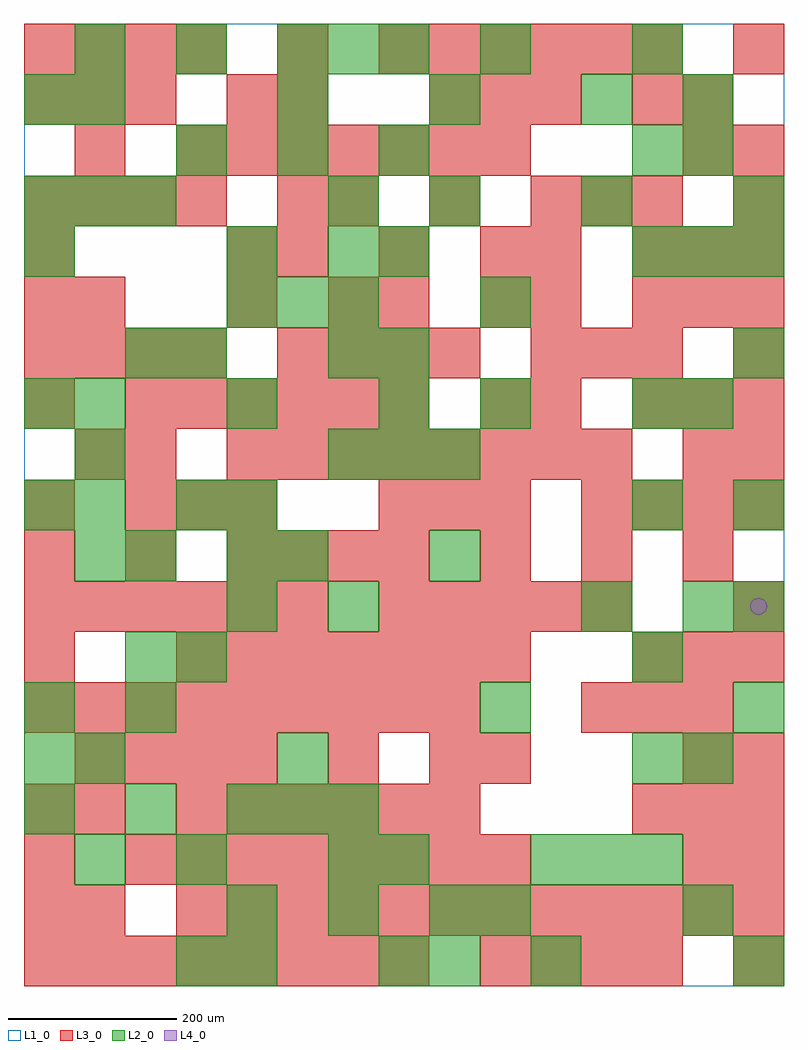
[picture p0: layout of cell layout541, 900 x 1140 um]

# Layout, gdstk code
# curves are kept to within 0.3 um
import gdstk
lib = gdstk.Library(unit=1e-6, precision=1e-09)
def R(c, l, rs):  # rectangles x0, y0, x1, y1
    for r in rs: c.add(gdstk.rectangle(r[:2], r[2:], *l))
def A(c, l, x, y, w, h, nx, ny, dx, dy):  # array of equal rectangles
    R(c, l, [(x+i*dx, y+j*dy, x+i*dx+w, y+j*dy+h) for i in range(nx) for j in range(ny)])
def P(c, l, *ps):  # polygons
    for p in ps: c.add(gdstk.Polygon(p, *l))
L1_0 = (1, 0)
L2_0 = (2, 0)
L3_0 = (3, 0)
L4_0 = (4, 0)

layout541 = lib.new_cell('layout541')
R(layout541, L1_0, [(0,0,900,1140)])
A(layout541, L2_0, 240, 60, 60, 60, 3, 1, 120, 0)
A(layout541, L2_0, 780, 60, 60, 60, 1, 3, 0, 180)
A(layout541, L2_0, 600, 120, 60, 60, 3, 1, 60, 0)
A(layout541, L2_0, 0, 180, 60, 60, 3, 1, 120, 0)
A(layout541, L2_0, 840, 300, 60, 60, 1, 3, 0, 120)
A(layout541, L2_0, 180, 360, 60, 60, 1, 3, 0, 180)
A(layout541, L2_0, 240, 420, 60, 60, 1, 3, 0, 60)
A(layout541, L2_0, 60, 480, 60, 60, 1, 3, 0, 60)
A(layout541, L2_0, 360, 600, 60, 60, 3, 1, 60, 0)
A(layout541, L2_0, 0, 660, 60, 60, 1, 3, 0, 180)
A(layout541, L2_0, 60, 660, 60, 60, 3, 1, 180, 0)
A(layout541, L2_0, 240, 780, 60, 60, 3, 1, 60, 0)
A(layout541, L2_0, 720, 840, 60, 60, 3, 1, 60, 0)
A(layout541, L2_0, 0, 900, 60, 60, 3, 1, 60, 0)
A(layout541, L2_0, 480, 900, 60, 60, 3, 1, 180, 0)
A(layout541, L2_0, 180, 960, 60, 60, 3, 1, 120, 0)
A(layout541, L2_0, 300, 1020, 60, 60, 3, 1, 180, 0)
A(layout541, L2_0, 60, 1080, 60, 60, 3, 1, 120, 0)
R(layout541, L2_0, [(180,0,240,60), (240,0,300,60), (420,0,480,60), (480,0,540,60), (600,0,660,60), (840,0,900,60), (540,60,600,120), (60,120,120,180), (180,120,240,180), (360,120,420,180), (420,120,480,180), (300,180,360,240), (360,180,420,240), (0,240,60,300), (60,240,120,300), (300,240,360,300), (720,240,780,300), (0,300,60,360), (120,300,180,360), (540,300,600,360), (120,360,180,420), (720,360,780,420), (360,420,420,480), (660,420,720,480), (120,480,180,540), (300,480,360,540), (480,480,540,540), (0,540,60,600), (720,540,780,600), (540,660,600,720), (720,660,780,720), (780,660,840,720), (120,720,180,780), (360,720,420,780), (420,720,480,780), (840,720,900,780), (540,780,600,840), (240,840,300,900), (360,840,420,900), (420,840,480,900), (360,900,420,960), (720,960,780,1020), (780,960,840,1020), (60,1020,120,1080), (780,1020,840,1080), (360,1080,420,1140), (420,1080,480,1140), (540,1080,600,1140), (720,1080,780,1140)])
A(layout541, L3_0, 0, 0, 60, 60, 8, 1, 60, 0)
A(layout541, L3_0, 540, 0, 60, 60, 4, 1, 60, 0)
A(layout541, L3_0, 840, 0, 60, 60, 1, 3, 0, 120)
A(layout541, L3_0, 0, 60, 60, 60, 1, 3, 0, 60)
A(layout541, L3_0, 180, 60, 60, 60, 12, 1, 60, 0)
A(layout541, L3_0, 120, 120, 60, 60, 8, 1, 60, 0)
A(layout541, L3_0, 180, 180, 60, 60, 6, 1, 60, 0)
A(layout541, L3_0, 720, 180, 60, 60, 3, 2, 60, 180)
A(layout541, L3_0, 60, 240, 60, 60, 4, 1, 60, 0)
A(layout541, L3_0, 780, 240, 60, 60, 1, 3, 0, 360)
A(layout541, L3_0, 0, 300, 60, 60, 9, 1, 60, 0)
A(layout541, L3_0, 660, 300, 60, 60, 3, 1, 60, 0)
A(layout541, L3_0, 180, 360, 60, 60, 7, 2, 60, 600)
A(layout541, L3_0, 0, 420, 60, 60, 6, 1, 60, 0)
A(layout541, L3_0, 420, 420, 60, 60, 5, 1, 60, 0)
A(layout541, L3_0, 0, 480, 60, 60, 3, 1, 120, 0)
A(layout541, L3_0, 300, 480, 60, 60, 3, 1, 60, 0)
A(layout541, L3_0, 540, 480, 60, 60, 3, 1, 120, 0)
A(layout541, L3_0, 0, 540, 60, 60, 1, 3, 0, 120)
A(layout541, L3_0, 120, 540, 60, 60, 3, 1, 60, 0)
A(layout541, L3_0, 420, 540, 60, 60, 3, 1, 60, 0)
A(layout541, L3_0, 660, 540, 60, 60, 4, 1, 60, 0)
A(layout541, L3_0, 60, 600, 60, 60, 1, 3, 0, 180)
A(layout541, L3_0, 240, 600, 60, 60, 8, 1, 60, 0)
A(layout541, L3_0, 120, 660, 60, 60, 6, 1, 60, 0)
A(layout541, L3_0, 720, 660, 60, 60, 3, 2, 60, 120)
A(layout541, L3_0, 0, 720, 60, 60, 4, 3, 60, 180)
A(layout541, L3_0, 300, 720, 60, 60, 4, 1, 60, 0)
A(layout541, L3_0, 600, 720, 60, 60, 3, 1, 60, 0)
A(layout541, L3_0, 300, 840, 60, 60, 3, 1, 120, 0)
A(layout541, L3_0, 720, 840, 60, 60, 3, 1, 60, 0)
A(layout541, L3_0, 360, 900, 60, 60, 3, 1, 120, 0)
A(layout541, L3_0, 0, 1020, 60, 60, 3, 1, 60, 0)
A(layout541, L3_0, 480, 1020, 60, 60, 3, 1, 60, 0)
A(layout541, L3_0, 420, 1080, 60, 60, 6, 1, 60, 0)
R(layout541, L3_0, [(60,60,120,120), (780,120,840,180), (60,180,120,240), (360,240,420,300), (480,240,540,300), (540,240,600,300), (0,360,60,420), (840,420,900,480), (120,600,180,660), (840,600,900,660), (540,660,600,720), (600,660,660,720), (840,720,900,780), (240,780,300,840), (360,780,420,840), (420,780,480,840), (540,780,600,840), (600,780,660,840), (0,840,60,900), (240,840,300,900), (600,840,660,900), (300,900,360,960), (660,900,720,960), (720,900,780,960), (840,900,900,960), (840,960,900,1020), (240,1020,300,1080), (300,1020,360,1080), (720,1020,780,1080), (780,1020,840,1080), (300,1080,360,1140), (840,1080,900,1140)])
P(layout541, L4_0, [(880,450),(879.239,453.827),(877.071,457.071),(873.827,459.239),(870,460),(866.173,459.239),(862.929,457.071),(860.761,453.827),(860,450),(860.761,446.173),(862.929,442.929),(866.173,440.761),(870,440),(873.827,440.761),(877.071,442.929),(879.239,446.173)])

lib.write_gds('layout541.gds')
